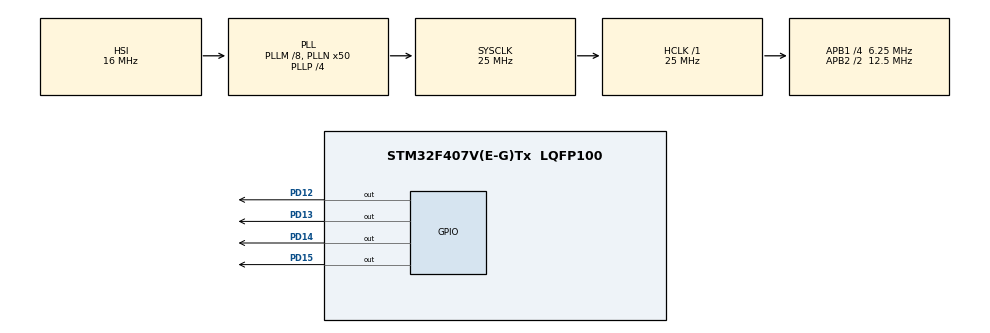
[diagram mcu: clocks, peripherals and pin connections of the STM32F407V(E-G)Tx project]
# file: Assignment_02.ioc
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FREERTOS.INCLUDE_vTaskDelayUntil=1
FREERTOS.Tasks01=defaultTask,-3,128,StartDefaultTask,Default,NULL,Dynamic,NULL,NULL
FREERTOS.configUSE_NEWLIB_REENTRANT=1
Mcu.Family=STM32F4
Mcu.Name=STM32F407V(E-G)Tx
Mcu.Package=LQFP100
NVIC.PriorityGroup=NVIC_PRIORITYGROUP_4
NVIC.TIM1_UP_TIM10_IRQn=true\:15\:0\:false\:false\:true\:false\:false\:true\:true
NVIC.TimeBase=TIM1_UP_TIM10_IRQn
NVIC.TimeBaseIP=TIM1
PD12.Signal=GPIO_Output
PD13.Signal=GPIO_Output
PD14.Signal=GPIO_Output
PD15.Signal=GPIO_Output
ProjectManager.HeapSize=0x200
ProjectManager.StackSize=0x400
ProjectManager.TargetToolchain=STM32CubeIDE
RCC.48MHZClocksFreq_Value=14285714.285714285
RCC.AHBFreq_Value=25000000
RCC.APB1CLKDivider=RCC_HCLK_DIV4
RCC.APB1Freq_Value=6250000
RCC.APB1TimFreq_Value=12500000
RCC.APB2CLKDivider=RCC_HCLK_DIV2
RCC.APB2Freq_Value=12500000
RCC.APB2TimFreq_Value=25000000
RCC.CortexFreq_Value=25000000
RCC.HCLKFreq_Value=25000000
RCC.HSE_VALUE=8000000
RCC.HSI_VALUE=16000000
RCC.LSE_VALUE=32768
RCC.PLLM=8
RCC.PLLN=50
RCC.PLLP=RCC_PLLP_DIV4
RCC.PLLQ=7
RCC.SYSCLKFreq_VALUE=25000000
RCC.SYSCLKSource=RCC_SYSCLKSOURCE_PLLCLK
RCC.VCOOutputFreq_Value=100000000
VP_FREERTOS_VS_CMSIS_V1.Mode=CMSIS_V1
VP_SYS_VS_tim1.Mode=TIM1
board=STM32F407G-DISC1

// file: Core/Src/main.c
/* USER CODE BEGIN Header */
/**
  ******************************************************************************
  * @file           : main.c
  * @brief          : Main program body
  ******************************************************************************
  * @attention
  *
  * Copyright (c) 2024 STMicroelectronics.
  * All rights reserved.
  *
  * This software is licensed under terms that can be found in the LICENSE file
  * in the root directory of this software component.
  * If no LICENSE file comes with this software, it is provided AS-IS.
  *
  ******************************************************************************
  */
/* USER CODE END Header */
#include "main.h"
#include "cmsis_os.h"

/* USER CODE BEGIN Includes */
void vLEDBlinkingTask(void *pvParam)
{
	uint32_t pvPin = (uint32_t )pvParam;
	portTickType xLastWakeupTime = xTaskGetTickCount();
	while(1)
	{
		HAL_GPIO_TogglePin(GPIOD,pvPin);
		vTaskDelayUntil(&xLastWakeupTime, 1000 / portTICK_RATE_MS);
	}
	vTaskDelete(NULL);
}
/* USER CODE END Includes */

osThreadId defaultTaskHandle;

void SystemClock_Config(void);
static void MX_GPIO_Init(void);
void StartDefaultTask(void const * argument);

int main(void)
{

  /* USER CODE BEGIN 1 */
	BaseType_t ret;
  /* USER CODE END 1 */

  /* MCU Configuration--------------------------------------------------------*/

  /* Reset of all peripherals, Initializes the Flash interface and the Systick. */
  HAL_Init();

  /* Configure the system clock */
  SystemClock_Config();

  /* Initialize all configured peripherals */
  MX_GPIO_Init();

  /* Create the thread(s) */
  /* definition and creation of defaultTask */
  osThreadDef(defaultTask, StartDefaultTask, osPriorityIdle, 0, 128);
  defaultTaskHandle = osThreadCreate(osThread(defaultTask), NULL);

  /* USER CODE BEGIN RTOS_THREADS */
  /* add threads, ... */
  ret = xTaskCreate(vLEDBlinkingTask,"t1", configMINIMAL_STACK_SIZE,(void *)GPIO_PIN_12, 2, NULL);
  if(ret !=pdTRUE)
	  Error_Handler();
  ret = xTaskCreate(vLEDBlinkingTask,"t2", configMINIMAL_STACK_SIZE,(void *)GPIO_PIN_13, 2, NULL);
  if(ret !=pdTRUE)
   Error_Handler();
  ret = xTaskCreate(vLEDBlinkingTask,"t3", configMINIMAL_STACK_SIZE,(void *)GPIO_PIN_14, 2, NULL);
  if(ret !=pdTRUE)
   Error_Handler();
  ret = xTaskCreate(vLEDBlinkingTask,"t4", configMINIMAL_STACK_SIZE,(void *)GPIO_PIN_15, 2, NULL);
  if(ret !=pdTRUE)
   Error_Handler();
  /* USER CODE END RTOS_THREADS */

  /* Start scheduler */
  osKernelStart();

  /* We should never get here as control is now taken by the scheduler */

  /* Infinite loop */
  while (1)
  {

  }
}

void SystemClock_Config(void)
{
  RCC_OscInitTypeDef RCC_OscInitStruct = {0};
  RCC_ClkInitTypeDef RCC_ClkInitStruct = {0};

  /** Configure the main internal regulator output voltage
  */
  __HAL_RCC_PWR_CLK_ENABLE();
  __HAL_PWR_VOLTAGESCALING_CONFIG(PWR_REGULATOR_VOLTAGE_SCALE1);

  /** Initializes the RCC Oscillators according to the specified parameters
  * in the RCC_OscInitTypeDef structure.
  */
  RCC_OscInitStruct.OscillatorType = RCC_OSCILLATORTYPE_HSI;
  RCC_OscInitStruct.HSIState = RCC_HSI_ON;
  RCC_OscInitStruct.HSICalibrationValue = RCC_HSICALIBRATION_DEFAULT;
  RCC_OscInitStruct.PLL.PLLState = RCC_PLL_ON;
  RCC_OscInitStruct.PLL.PLLSource = RCC_PLLSOURCE_HSI;
  RCC_OscInitStruct.PLL.PLLM = 8;
  RCC_OscInitStruct.PLL.PLLN = 50;
  RCC_OscInitStruct.PLL.PLLP = RCC_PLLP_DIV4;
  RCC_OscInitStruct.PLL.PLLQ = 7;
  if (HAL_RCC_OscConfig(&RCC_OscInitStruct) != HAL_OK)
  {
    Error_Handler();
  }

  /** Initializes the CPU, AHB and APB buses clocks
  */
  RCC_ClkInitStruct.ClockType = RCC_CLOCKTYPE_HCLK|RCC_CLOCKTYPE_SYSCLK
                              |RCC_CLOCKTYPE_PCLK1|RCC_CLOCKTYPE_PCLK2;
  RCC_ClkInitStruct.SYSCLKSource = RCC_SYSCLKSOURCE_PLLCLK;
  RCC_ClkInitStruct.AHBCLKDivider = RCC_SYSCLK_DIV1;
  RCC_ClkInitStruct.APB1CLKDivider = RCC_HCLK_DIV4;
  RCC_ClkInitStruct.APB2CLKDivider = RCC_HCLK_DIV2;

  if (HAL_RCC_ClockConfig(&RCC_ClkInitStruct, FLASH_LATENCY_0) != HAL_OK)
  {
    Error_Handler();
  }
}

static void MX_GPIO_Init(void)
{
  GPIO_InitTypeDef GPIO_InitStruct = {0};

  /* GPIO Ports Clock Enable */
  __HAL_RCC_GPIOD_CLK_ENABLE();

  /*Configure GPIO pin Output Level */
  HAL_GPIO_WritePin(GPIOD, GPIO_PIN_12|GPIO_PIN_13|GPIO_PIN_14|GPIO_PIN_15, GPIO_PIN_RESET);

  /*Configure GPIO pins : PD12 PD13 PD14 PD15 */
  GPIO_InitStruct.Pin = GPIO_PIN_12|GPIO_PIN_13|GPIO_PIN_14|GPIO_PIN_15;
  GPIO_InitStruct.Mode = GPIO_MODE_OUTPUT_PP;
  GPIO_InitStruct.Pull = GPIO_NOPULL;
  GPIO_InitStruct.Speed = GPIO_SPEED_FREQ_LOW;
  HAL_GPIO_Init(GPIOD, &GPIO_InitStruct);

}

void StartDefaultTask(void const * argument)
{
  for(;;)
  {
    osDelay(1);
  }
}

void HAL_TIM_PeriodElapsedCallback(TIM_HandleTypeDef *htim)
{
  if (htim->Instance == TIM1) {
    HAL_IncTick();
  }
}

void Error_Handler(void)
{
  __disable_irq();
  while (1)
  {
  }
}
